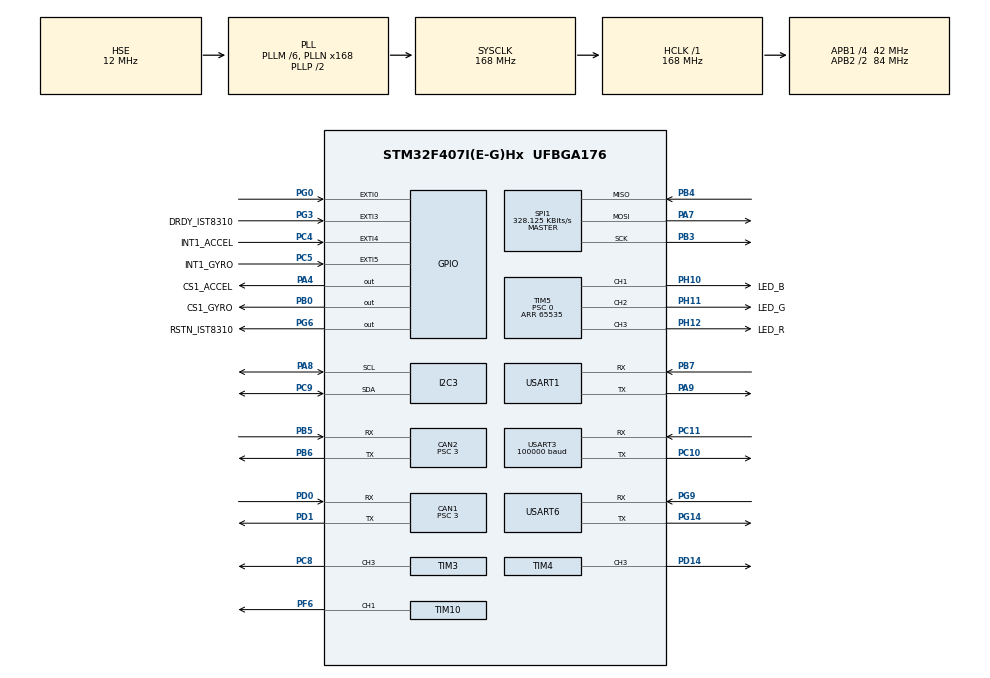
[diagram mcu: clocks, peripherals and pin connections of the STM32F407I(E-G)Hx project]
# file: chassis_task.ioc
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CAN1.BS1=CAN_BS1_10TQ
CAN1.BS2=CAN_BS2_3TQ
CAN1.CalculateTimeQuantum=71.42857142857143
CAN1.Prescaler=3
CAN2.BS1=CAN_BS1_10TQ
CAN2.BS2=CAN_BS2_3TQ
CAN2.CalculateTimeQuantum=71.42857142857143
CAN2.Prescaler=3
Dma.Request0=SPI1_RX
Dma.Request1=SPI1_TX
Dma.Request2=USART3_RX
Dma.Request3=USART6_RX
Dma.Request4=USART6_TX
Dma.SPI1_RX.0.Direction=DMA_PERIPH_TO_MEMORY
Dma.SPI1_RX.0.FIFOMode=DMA_FIFOMODE_DISABLE
Dma.SPI1_RX.0.Instance=DMA2_Stream2
Dma.SPI1_RX.0.MemDataAlignment=DMA_MDATAALIGN_BYTE
Dma.SPI1_RX.0.MemInc=DMA_MINC_ENABLE
Dma.SPI1_RX.0.Mode=DMA_NORMAL
Dma.SPI1_RX.0.PeriphDataAlignment=DMA_PDATAALIGN_BYTE
Dma.SPI1_RX.0.PeriphInc=DMA_PINC_DISABLE
Dma.SPI1_RX.0.Priority=DMA_PRIORITY_VERY_HIGH
Dma.SPI1_TX.1.Direction=DMA_MEMORY_TO_PERIPH
Dma.SPI1_TX.1.FIFOMode=DMA_FIFOMODE_DISABLE
Dma.SPI1_TX.1.Instance=DMA2_Stream3
Dma.SPI1_TX.1.MemDataAlignment=DMA_MDATAALIGN_BYTE
Dma.SPI1_TX.1.MemInc=DMA_MINC_ENABLE
Dma.SPI1_TX.1.Mode=DMA_NORMAL
Dma.SPI1_TX.1.PeriphDataAlignment=DMA_PDATAALIGN_BYTE
Dma.SPI1_TX.1.PeriphInc=DMA_PINC_DISABLE
Dma.SPI1_TX.1.Priority=DMA_PRIORITY_HIGH
Dma.USART3_RX.2.Direction=DMA_PERIPH_TO_MEMORY
Dma.USART3_RX.2.FIFOMode=DMA_FIFOMODE_DISABLE
Dma.USART3_RX.2.Instance=DMA1_Stream1
Dma.USART3_RX.2.MemDataAlignment=DMA_MDATAALIGN_BYTE
Dma.USART3_RX.2.MemInc=DMA_MINC_ENABLE
Dma.USART3_RX.2.Mode=DMA_NORMAL
Dma.USART3_RX.2.PeriphDataAlignment=DMA_PDATAALIGN_BYTE
Dma.USART3_RX.2.PeriphInc=DMA_PINC_DISABLE
Dma.USART3_RX.2.Priority=DMA_PRIORITY_HIGH
Dma.USART6_RX.3.Direction=DMA_PERIPH_TO_MEMORY
Dma.USART6_RX.3.FIFOMode=DMA_FIFOMODE_DISABLE
Dma.USART6_RX.3.Instance=DMA2_Stream1
Dma.USART6_RX.3.MemDataAlignment=DMA_MDATAALIGN_BYTE
Dma.USART6_RX.3.MemInc=DMA_MINC_ENABLE
Dma.USART6_RX.3.Mode=DMA_NORMAL
Dma.USART6_RX.3.PeriphDataAlignment=DMA_PDATAALIGN_BYTE
Dma.USART6_RX.3.PeriphInc=DMA_PINC_DISABLE
Dma.USART6_RX.3.Priority=DMA_PRIORITY_HIGH
Dma.USART6_TX.4.Direction=DMA_MEMORY_TO_PERIPH
Dma.USART6_TX.4.FIFOMode=DMA_FIFOMODE_DISABLE
Dma.USART6_TX.4.Instance=DMA2_Stream6
Dma.USART6_TX.4.MemDataAlignment=DMA_MDATAALIGN_BYTE
Dma.USART6_TX.4.MemInc=DMA_MINC_ENABLE
Dma.USART6_TX.4.Mode=DMA_NORMAL
Dma.USART6_TX.4.PeriphDataAlignment=DMA_PDATAALIGN_BYTE
Dma.USART6_TX.4.PeriphInc=DMA_PINC_DISABLE
Dma.USART6_TX.4.Priority=DMA_PRIORITY_MEDIUM
FREERTOS.INCLUDE_eTaskGetState=1
FREERTOS.INCLUDE_pcTaskGetTaskName=1
FREERTOS.INCLUDE_uxTaskGetStackHighWaterMark=1
FREERTOS.INCLUDE_vTaskCleanUpResources=1
FREERTOS.INCLUDE_vTaskDelayUntil=1
FREERTOS.INCLUDE_xEventGroupSetBitFromISR=1
FREERTOS.INCLUDE_xQueueGetMutexHolder=1
FREERTOS.INCLUDE_xSemaphoreGetMutexHolder=1
FREERTOS.INCLUDE_xTaskAbortDelay=1
FREERTOS.INCLUDE_xTaskGetCurrentTaskHandle=1
FREERTOS.INCLUDE_xTaskGetHandle=1
FREERTOS.INCLUDE_xTimerPendFunctionCall=1
FREERTOS.Tasks01=test,24,128,test_task,As weak,NULL,Dynamic,NULL,NULL
FREERTOS.configTOTAL_HEAP_SIZE=24576
I2C3.I2C_Mode=I2C_Fast
Mcu.Family=STM32F4
Mcu.Name=STM32F407I(E-G)Hx
Mcu.Package=UFBGA176
NVIC.CAN1_RX0_IRQn=true\:6\:0\:true\:false\:true\:true\:true\:true\:true
NVIC.CAN2_RX0_IRQn=true\:6\:0\:true\:false\:true\:true\:true\:true\:true
NVIC.DMA1_Stream1_IRQn=true\:5\:0\:true\:false\:false\:true\:false\:false\:true
NVIC.DMA2_Stream1_IRQn=true\:5\:0\:false\:false\:true\:true\:false\:true\:true
NVIC.DMA2_Stream2_IRQn=true\:5\:0\:true\:false\:false\:true\:false\:true\:true
NVIC.DMA2_Stream3_IRQn=true\:5\:0\:true\:false\:false\:true\:false\:true\:true
NVIC.DMA2_Stream6_IRQn=true\:5\:0\:false\:false\:true\:true\:false\:true\:true
NVIC.EXTI0_IRQn=true\:6\:0\:true\:false\:true\:true\:true\:true\:true
NVIC.EXTI3_IRQn=true\:5\:0\:true\:false\:true\:true\:true\:true\:true
NVIC.EXTI4_IRQn=true\:5\:0\:true\:false\:true\:true\:true\:true\:true
NVIC.EXTI9_5_IRQn=true\:5\:0\:true\:false\:true\:true\:true\:true\:true
NVIC.PriorityGroup=NVIC_PRIORITYGROUP_4
NVIC.USART1_IRQn=true\:5\:0\:false\:false\:true\:true\:true\:true\:true
NVIC.USART3_IRQn=true\:4\:0\:true\:false\:false\:false\:true\:true\:true
NVIC.USART6_IRQn=true\:5\:0\:false\:false\:false\:true\:true\:true\:true
PA13.Mode=Serial_Wire
PA13.Signal=SYS_JTMS-SWDIO
PA14.Mode=Serial_Wire
PA14.Signal=SYS_JTCK-SWCLK
PA4.GPIO_Label=CS1_ACCEL
PA4.GPIO_PuPd=GPIO_PULLUP
PA4.GPIO_Speed=GPIO_SPEED_FREQ_HIGH
PA4.PinState=GPIO_PIN_SET
PA4.Signal=GPIO_Output
PA7.GPIO_PuPd=GPIO_PULLUP
PA7.Mode=Full_Duplex_Master
PA7.Signal=SPI1_MOSI
PA8.Mode=I2C
PA8.Signal=I2C3_SCL
PA9.Mode=Asynchronous
PA9.Signal=USART1_TX
PB0.GPIO_Label=CS1_GYRO
PB0.GPIO_PuPd=GPIO_PULLUP
PB0.GPIO_Speed=GPIO_SPEED_FREQ_HIGH
PB0.PinState=GPIO_PIN_SET
PB0.Signal=GPIO_Output
PB3.GPIO_PuPd=GPIO_PULLUP
PB3.Mode=Full_Duplex_Master
PB3.Signal=SPI1_SCK
PB4.GPIO_PuPd=GPIO_PULLUP
PB4.Mode=Full_Duplex_Master
PB4.Signal=SPI1_MISO
PB5.Mode=Slave
PB5.Signal=CAN2_RX
PB6.Mode=Slave
PB6.Signal=CAN2_TX
PB7.Mode=Asynchronous
PB7.Signal=USART1_RX
PC10.Mode=Asynchronous
PC10.Signal=USART3_TX
PC11.Mode=Asynchronous
PC11.Signal=USART3_RX
PC4.GPIO_Label=INT1_ACCEL
PC4.GPIO_ModeDefaultEXTI=GPIO_MODE_IT_FALLING
PC4.GPIO_PuPd=GPIO_PULLUP
PC4.Signal=GPXTI4
PC5.GPIO_Label=INT1_GYRO
PC5.GPIO_ModeDefaultEXTI=GPIO_MODE_IT_FALLING
PC5.GPIO_PuPd=GPIO_PULLUP
PC5.Signal=GPXTI5
PC8.GPIO_PuPd=GPIO_PULLUP
PC8.GPIO_Speed=GPIO_SPEED_FREQ_HIGH
PC8.Signal=S_TIM3_CH3
PC9.Mode=I2C
PC9.Signal=I2C3_SDA
PD0.Mode=Master
PD0.Signal=CAN1_RX
PD1.Mode=Master
PD1.Signal=CAN1_TX
PD14.GPIO_PuPd=GPIO_PULLUP
PD14.GPIO_Speed=GPIO_SPEED_FREQ_HIGH
PD14.Signal=S_TIM4_CH3
PF6.GPIO_PuPd=GPIO_PULLUP
PF6.GPIO_Speed=GPIO_SPEED_FREQ_HIGH
PF6.Signal=S_TIM10_CH1
PG0.GPIO_ModeDefaultEXTI=GPIO_MODE_IT_FALLING
PG0.GPIO_PuPd=GPIO_PULLUP
PG0.Signal=GPXTI0
PG14.Mode=Asynchronous
PG14.Signal=USART6_TX
PG3.GPIO_Label=DRDY_IST8310
PG3.GPIO_ModeDefaultEXTI=GPIO_MODE_IT_FALLING
PG3.GPIO_PuPd=GPIO_PULLUP
PG3.Signal=GPXTI3
PG6.GPIO_Label=RSTN_IST8310
PG6.GPIO_PuPd=GPIO_PULLUP
PG6.GPIO_Speed=GPIO_SPEED_FREQ_MEDIUM
PG6.PinState=GPIO_PIN_SET
PG6.Signal=GPIO_Output
PG9.Mode=Asynchronous
PG9.Signal=USART6_RX
PH0-OSC_IN.Mode=HSE-External-Oscillator
PH0-OSC_IN.Signal=RCC_OSC_IN
PH1-OSC_OUT.Mode=HSE-External-Oscillator
PH1-OSC_OUT.Signal=RCC_OSC_OUT
PH10.GPIO_Label=LED_B
PH10.GPIO_PuPd=GPIO_PULLUP
PH10.GPIO_Speed=GPIO_SPEED_FREQ_HIGH
PH10.Signal=S_TIM5_CH1
PH11.GPIO_Label=LED_G
PH11.GPIO_PuPd=GPIO_PULLUP
PH11.GPIO_Speed=GPIO_SPEED_FREQ_HIGH
PH11.Signal=S_TIM5_CH2
PH12.GPIO_Label=LED_R
PH12.GPIO_PuPd=GPIO_PULLUP
PH12.GPIO_Speed=GPIO_SPEED_FREQ_HIGH
PH12.Signal=S_TIM5_CH3
ProjectManager.HeapSize=0x2000
ProjectManager.StackSize=0x2000
ProjectManager.TargetToolchain=MDK-ARM V5
RCC.48MHZClocksFreq_Value=48000000
RCC.AHBFreq_Value=168000000
RCC.APB1CLKDivider=RCC_HCLK_DIV4
RCC.APB1Freq_Value=42000000
RCC.APB1TimFreq_Value=84000000
RCC.APB2CLKDivider=RCC_HCLK_DIV2
RCC.APB2Freq_Value=84000000
RCC.APB2TimFreq_Value=168000000
RCC.CortexFreq_Value=168000000
RCC.HCLKFreq_Value=168000000
RCC.HSE_VALUE=12000000
RCC.HSI_VALUE=16000000
RCC.LSE_VALUE=32768
RCC.PLLM=6
RCC.PLLN=168
RCC.PLLQ=7
RCC.PLLSourceVirtual=RCC_PLLSOURCE_HSE
RCC.RCC_RTC_Clock_SourceVirtual=RCC_RTCCLKSOURCE_HSE_DIV30
RCC.RCC_RTC_Clock_Source_FROM_HSE=RCC_RTCCLKSOURCE_HSE_DIV30
RCC.SYSCLKFreq_VALUE=168000000
RCC.SYSCLKSource=RCC_SYSCLKSOURCE_PLLCLK
RCC.VCOOutputFreq_Value=336000000
RTC.AsynchPrediv=124
RTC.SynchPrediv=3199
SH.S_TIM10_CH1.0=TIM10_CH1,PWM Generation1 CH1
SH.S_TIM3_CH3.0=TIM3_CH3,PWM Generation3 CH3
SH.S_TIM4_CH3.0=TIM4_CH3,PWM Generation3 CH3
SH.S_TIM5_CH1.0=TIM5_CH1,PWM Generation1 CH1
SH.S_TIM5_CH2.0=TIM5_CH2,PWM Generation2 CH2
SH.S_TIM5_CH3.0=TIM5_CH3,PWM Generation3 CH3
SPI1.BaudRatePrescaler=SPI_BAUDRATEPRESCALER_256
SPI1.CLKPhase=SPI_PHASE_2EDGE
SPI1.CLKPolarity=SPI_POLARITY_HIGH
SPI1.CalculateBaudRate=328.125 KBits/s
SPI1.Direction=SPI_DIRECTION_2LINES
SPI1.Mode=SPI_MODE_MASTER
SPI1.VirtualType=VM_MASTER
TIM10.Channel=TIM_CHANNEL_1
TIM10.Period=4999
TIM3.Channel-PWM\ Generation3\ CH3=TIM_CHANNEL_3
TIM3.Period=8399
TIM4.Channel-PWM\ Generation3\ CH3=TIM_CHANNEL_3
TIM4.Period=65535
TIM4.Prescaler=167
TIM5.Channel-PWM\ Generation1\ CH1=TIM_CHANNEL_1
TIM5.Channel-PWM\ Generation2\ CH2=TIM_CHANNEL_2
TIM5.Channel-PWM\ Generation3\ CH3=TIM_CHANNEL_3
TIM5.Period=65535
TIM5.Prescaler=0
TIM8.Period=19999
TIM8.Prescaler=167
USART1.VirtualMode=VM_ASYNC
USART3.BaudRate=100000
USART3.Parity=PARITY_EVEN
USART3.VirtualMode=VM_ASYNC
USART6.VirtualMode=VM_ASYNC
VP_FREERTOS_VS_CMSIS_V1.Mode=CMSIS_V1
VP_RTC_VS_RTC_Activate.Mode=RTC_Enabled
VP_TIM10_VS_ClockSourceINT.Mode=Enable_Timer
VP_TIM3_VS_ClockSourceINT.Mode=Internal
VP_TIM4_VS_ClockSourceINT.Mode=Internal
VP_TIM5_VS_ClockSourceINT.Mode=Internal
VP_TIM8_VS_ClockSourceINT.Mode=Internal
board=custom

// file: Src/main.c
/* USER CODE BEGIN Header */
/**
  ******************************************************************************
  * @file           : main.c
  * @brief          : Main program body
  ******************************************************************************
  * @attention
  *
  * <h2><center>&copy; Copyright (c) 2019 STMicroelectronics.
  * All rights reserved.</center></h2>
  *
  * This software component is licensed by ST under Ultimate Liberty license
  * SLA0044, the "License"; You may not use this file except in compliance with
  * the License. You may obtain a copy of the License at:
  *                             www.st.com/SLA0044
  *
  ******************************************************************************
  */
/* USER CODE END Header */

#include "main.h"
#include "cmsis_os.h"
#include "can.h"
#include "dma.h"
#include "i2c.h"
#include "rtc.h"
#include "spi.h"
#include "tim.h"
#include "usart.h"
#include "gpio.h"

/* USER CODE BEGIN Includes */
#include "bsp_can.h"
#include "bsp_usart.h"
#include "bsp_delay.h"
#include "remote_control.h"
#include "calibrate_task.h"
#include "chassis_task.h"
#include "detect_task.h"
#include "INS_task.h"
#include <stdarg.h>
#include <stdio.h>
#include "led_flow_task.h"
/* USER CODE END Includes */

void SystemClock_Config(void);
void MX_FREERTOS_Init(void);

/* USER CODE BEGIN 0 */
void usart_printf(const char *fmt,...)
{
    static uint8_t tx_buf[256] = {0};
    static va_list ap;
    static uint16_t len;
    va_start(ap, fmt);

    len = vsprintf((char *)tx_buf, fmt, ap);

    va_end(ap);

		HAL_UART_Transmit(&huart1, tx_buf, len, 100);
    usart1_tx_dma_enable(tx_buf, len);

}
/* USER CODE END 0 */

int main(void)
{

  /* MCU Configuration--------------------------------------------------------*/

  /* Reset of all peripherals, Initializes the Flash interface and the Systick. */
  HAL_Init();

  /* Configure the system clock */
  SystemClock_Config();

  /* Initialize all configured peripherals */
  MX_GPIO_Init();
  MX_DMA_Init();
  MX_CAN1_Init();
  MX_CAN2_Init();
  MX_SPI1_Init();
  MX_TIM4_Init();
  MX_TIM5_Init();
  MX_USART3_UART_Init();
  MX_TIM8_Init();
  MX_I2C3_Init();
  MX_RTC_Init();
  MX_TIM3_Init();
  MX_TIM10_Init();
  MX_USART1_UART_Init();
  MX_USART6_UART_Init();
  /* USER CODE BEGIN 2 */
    can_filter_init();
    delay_init();
    cali_param_init();
    remote_control_init();
  /* USER CODE END 2 */

  /* Call init function for freertos objects (in freertos.c) */
  MX_FREERTOS_Init();

  /* Start scheduler */
  osKernelStart();

  /* We should never get here as control is now taken by the scheduler */

  /* Infinite loop */
  while (1)
  {

  }
}

void SystemClock_Config(void)
{
  RCC_OscInitTypeDef RCC_OscInitStruct = {0};
  RCC_ClkInitTypeDef RCC_ClkInitStruct = {0};
  RCC_PeriphCLKInitTypeDef PeriphClkInitStruct = {0};

  /** Configure the main internal regulator output voltage
  */
  __HAL_RCC_PWR_CLK_ENABLE();
  __HAL_PWR_VOLTAGESCALING_CONFIG(PWR_REGULATOR_VOLTAGE_SCALE1);
  /** Initializes the CPU, AHB and APB busses clocks
  */
  RCC_OscInitStruct.OscillatorType = RCC_OSCILLATORTYPE_HSE;
  RCC_OscInitStruct.HSEState = RCC_HSE_ON;
  RCC_OscInitStruct.PLL.PLLState = RCC_PLL_ON;
  RCC_OscInitStruct.PLL.PLLSource = RCC_PLLSOURCE_HSE;
  RCC_OscInitStruct.PLL.PLLM = 6;
  RCC_OscInitStruct.PLL.PLLN = 168;
  RCC_OscInitStruct.PLL.PLLP = RCC_PLLP_DIV2;
  RCC_OscInitStruct.PLL.PLLQ = 7;
  if (HAL_RCC_OscConfig(&RCC_OscInitStruct) != HAL_OK)
  {
    Error_Handler();
  }
  /** Initializes the CPU, AHB and APB busses clocks
  */
  RCC_ClkInitStruct.ClockType = RCC_CLOCKTYPE_HCLK|RCC_CLOCKTYPE_SYSCLK
                              |RCC_CLOCKTYPE_PCLK1|RCC_CLOCKTYPE_PCLK2;
  RCC_ClkInitStruct.SYSCLKSource = RCC_SYSCLKSOURCE_PLLCLK;
  RCC_ClkInitStruct.AHBCLKDivider = RCC_SYSCLK_DIV1;
  RCC_ClkInitStruct.APB1CLKDivider = RCC_HCLK_DIV4;
  RCC_ClkInitStruct.APB2CLKDivider = RCC_HCLK_DIV2;

  if (HAL_RCC_ClockConfig(&RCC_ClkInitStruct, FLASH_LATENCY_5) != HAL_OK)
  {
    Error_Handler();
  }
  PeriphClkInitStruct.PeriphClockSelection = RCC_PERIPHCLK_RTC;
  PeriphClkInitStruct.RTCClockSelection = RCC_RTCCLKSOURCE_HSE_DIV30;
  if (HAL_RCCEx_PeriphCLKConfig(&PeriphClkInitStruct) != HAL_OK)
  {
    Error_Handler();
  }
}

void Error_Handler(void)
{
}

/************************ (C) COPYRIGHT STMicroelectronics *****END OF FILE****/

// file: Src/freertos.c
/* USER CODE BEGIN Header */
/**
  ******************************************************************************
  * File Name          : freertos.c
  * Description        : Code for freertos applications
  ******************************************************************************
  * @attention
  *
  * <h2><center>&copy; Copyright (c) 2019 STMicroelectronics.
  * All rights reserved.</center></h2>
  *
  * This software component is licensed by ST under Ultimate Liberty license
  * SLA0044, the "License"; You may not use this file except in compliance with
  * the License. You may obtain a copy of the License at:
  *                             www.st.com/SLA0044
  *
  ******************************************************************************
  */
/* USER CODE END Header */

#include "FreeRTOS.h"
#include "task.h"
#include "main.h"
#include "cmsis_os.h"

/* USER CODE BEGIN Includes */

#include "calibrate_task.h"
#include "chassis_task.h"
#include "detect_task.h"
#include "INS_task.h"
#include "led_flow_task.h"
#include "referee_usart_task.h"
#include "super_c_task.h"

/* USER CODE END Includes */

/* USER CODE BEGIN PTD */

osThreadId calibrate_tast_handle;
osThreadId chassisTaskHandle;
osThreadId detect_handle;
osThreadId imuTaskHandle;
osThreadId led_RGB_flow_handle;
osThreadId referee_usart_task_handle;
osThreadId super_c_task_handle;

/* USER CODE END PTD */

osThreadId testHandle;

void test_task(void const * argument);

void MX_FREERTOS_Init(void); /* (MISRA C 2004 rule 8.1) */

/* GetIdleTaskMemory prototype (linked to static allocation support) */
void vApplicationGetIdleTaskMemory( StaticTask_t **ppxIdleTaskTCBBuffer, StackType_t **ppxIdleTaskStackBuffer, uint32_t *pulIdleTaskStackSize );

/* GetTimerTaskMemory prototype (linked to static allocation support) */
void vApplicationGetTimerTaskMemory( StaticTask_t **ppxTimerTaskTCBBuffer, StackType_t **ppxTimerTaskStackBuffer, uint32_t *pulTimerTaskStackSize );

/* USER CODE BEGIN GET_IDLE_TASK_MEMORY */
static StaticTask_t xIdleTaskTCBBuffer;
static StackType_t xIdleStack[configMINIMAL_STACK_SIZE];

void vApplicationGetIdleTaskMemory( StaticTask_t **ppxIdleTaskTCBBuffer, StackType_t **ppxIdleTaskStackBuffer, uint32_t *pulIdleTaskStackSize )
{
  *ppxIdleTaskTCBBuffer = &xIdleTaskTCBBuffer;
  *ppxIdleTaskStackBuffer = &xIdleStack[0];
  *pulIdleTaskStackSize = configMINIMAL_STACK_SIZE;
  /* place for user code */
}
/* USER CODE END GET_IDLE_TASK_MEMORY */

/* USER CODE BEGIN GET_TIMER_TASK_MEMORY */
static StaticTask_t xTimerTaskTCBBuffer;
static StackType_t xTimerStack[configTIMER_TASK_STACK_DEPTH];

void vApplicationGetTimerTaskMemory( StaticTask_t **ppxTimerTaskTCBBuffer, StackType_t **ppxTimerTaskStackBuffer, uint32_t *pulTimerTaskStackSize )
{
  *ppxTimerTaskTCBBuffer = &xTimerTaskTCBBuffer;
  *ppxTimerTaskStackBuffer = &xTimerStack[0];
  *pulTimerTaskStackSize = configTIMER_TASK_STACK_DEPTH;
  /* place for user code */
}
/* USER CODE END GET_TIMER_TASK_MEMORY */

void MX_FREERTOS_Init(void) {

  /* Create the thread(s) */
  /* definition and creation of test */
  osThreadDef(test, test_task, osPriorityNormal, 0, 128);
  testHandle = osThreadCreate(osThread(test), NULL);

  /* USER CODE BEGIN RTOS_THREADS */
  /* add threads, ... */
//    osThreadDef(cali, calibrate_task, osPriorityNormal, 0, 512);
//    calibrate_tast_handle = osThreadCreate(osThread(cali), NULL);

    osThreadDef(ChassisTask, chassis_task, osPriorityAboveNormal, 0, 512);
    chassisTaskHandle = osThreadCreate(osThread(ChassisTask), NULL);

//    osThreadDef(DETECT, detect_task, osPriorityNormal, 0, 256);
//    detect_handle = osThreadCreate(osThread(DETECT), NULL);

//    osThreadDef(imuTask, INS_task, osPriorityRealtime, 0, 1024);
//    imuTaskHandle = osThreadCreate(osThread(imuTask), NULL);

    osThreadDef(led, led_RGB_flow_task, osPriorityNormal, 0, 256);
    led_RGB_flow_handle = osThreadCreate(osThread(led), NULL);

    osThreadDef(REFEREE, referee_usart_task, osPriorityNormal, 0, 128);
    referee_usart_task_handle = osThreadCreate(osThread(REFEREE), NULL);

    osThreadDef(SUPERC, super_c_task, osPriorityNormal, 0, 128);
    super_c_task_handle = osThreadCreate(osThread(SUPERC), NULL);

  /* USER CODE END RTOS_THREADS */

}

__weak void test_task(void const * argument)
{

  for(;;)
  {
    osDelay(1);
  }
}

/************************ (C) COPYRIGHT STMicroelectronics *****END OF FILE****/
